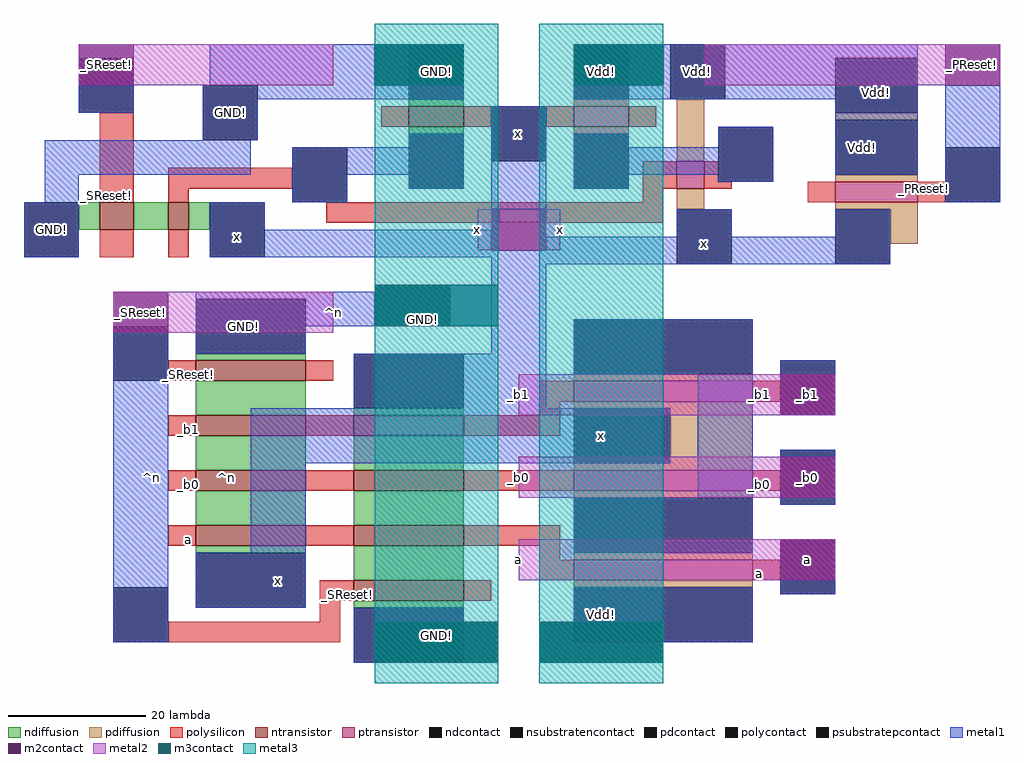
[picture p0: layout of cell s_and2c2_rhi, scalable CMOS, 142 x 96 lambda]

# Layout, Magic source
magic
tech scmos
<< ndiffusion >>
rect -16 588 -8 589
rect -16 584 -8 585
rect -64 570 -61 574
rect -56 570 -51 574
rect -48 570 -45 574
rect -47 551 -31 552
rect -47 543 -31 548
rect -24 543 -8 544
rect -47 535 -31 540
rect -24 535 -8 540
rect -47 527 -31 532
rect -24 527 -8 532
rect -47 523 -31 524
rect -24 519 -8 524
rect -24 515 -8 516
<< pdiffusion >>
rect 8 588 16 589
rect 8 584 16 585
rect 23 580 27 589
rect 46 586 58 587
rect 46 577 58 578
rect 23 573 27 576
rect 46 573 58 574
rect 54 568 58 573
rect 8 548 34 549
rect 8 544 34 545
rect 22 536 34 544
rect 8 535 34 536
rect 8 531 34 532
rect 8 522 34 523
rect 8 518 34 519
<< ntransistor >>
rect -16 585 -8 588
rect -61 570 -56 574
rect -51 570 -48 574
rect -47 548 -31 551
rect -47 540 -31 543
rect -24 540 -8 543
rect -47 532 -31 535
rect -24 532 -8 535
rect -47 524 -31 527
rect -24 524 -8 527
rect -24 516 -8 519
<< ptransistor >>
rect 8 585 16 588
rect 23 576 27 580
rect 46 574 58 577
rect 8 545 34 548
rect 8 532 34 535
rect 8 519 34 522
<< polysilicon >>
rect -61 574 -56 587
rect -20 585 -16 588
rect -8 585 -4 588
rect -51 576 -33 579
rect -51 574 -48 576
rect 4 585 8 588
rect 16 585 20 588
rect 18 576 23 580
rect 27 577 29 580
rect 27 576 31 577
rect 18 574 21 576
rect -61 566 -56 570
rect -51 566 -48 570
rect -28 571 21 574
rect 42 574 46 577
rect 58 574 62 577
rect -51 548 -47 551
rect -31 548 -27 551
rect 3 545 8 548
rect 34 545 38 548
rect 3 543 6 545
rect -51 540 -47 543
rect -31 540 -24 543
rect -8 540 6 543
rect -51 532 -47 535
rect -31 532 -24 535
rect -8 532 8 535
rect 34 532 38 535
rect -51 524 -47 527
rect -31 524 -24 527
rect -8 524 6 527
rect 3 522 6 524
rect 3 519 8 522
rect 34 519 38 522
rect -29 516 -24 519
rect -8 516 -4 519
rect -29 513 -26 516
rect -51 510 -26 513
<< ndcontact >>
rect -16 589 -8 597
rect -16 576 -8 584
rect -72 566 -64 574
rect -45 566 -37 574
rect -47 552 -31 560
rect -24 544 -8 552
rect -47 515 -31 523
rect -24 507 -8 515
<< pdcontact >>
rect 8 589 16 597
rect 22 589 30 597
rect 8 576 16 584
rect 46 578 58 586
rect 23 565 31 573
rect 46 565 54 573
rect 8 549 34 557
rect 8 536 22 544
rect 8 523 34 531
rect 8 510 34 518
<< psubstratepcontact >>
rect -46 583 -38 591
<< nsubstratencontact >>
rect 46 587 58 595
<< polycontact >>
rect -64 587 -56 595
rect -33 574 -25 582
rect -4 580 4 588
rect 29 577 37 585
rect 62 574 70 582
rect -59 548 -51 556
rect 38 543 46 551
rect -59 510 -51 518
rect 38 530 46 538
rect 38 517 46 525
<< metal1 >>
rect -45 591 -21 597
rect -64 587 -56 591
rect -46 589 -8 591
rect 21 591 58 597
rect 8 589 58 591
rect -46 583 -38 589
rect -69 578 -39 583
rect -16 582 -8 584
rect -33 578 -8 582
rect -69 574 -64 578
rect -33 574 -25 578
rect -16 576 -8 578
rect -72 566 -64 574
rect -45 570 -37 574
rect -4 573 4 588
rect 8 582 16 584
rect 29 582 37 585
rect 8 578 37 582
rect 46 578 58 589
rect 8 576 16 578
rect 29 577 37 578
rect 62 574 70 591
rect -45 567 -4 570
rect 23 569 31 573
rect 46 569 54 573
rect 4 567 54 569
rect -45 566 54 567
rect -4 565 54 566
rect -59 510 -51 555
rect -47 556 -21 561
rect -47 552 -31 556
rect -4 552 4 565
rect -24 544 4 552
rect 8 549 34 557
rect -39 536 22 544
rect -39 523 -31 536
rect 26 531 34 549
rect 38 549 46 551
rect 8 523 34 531
rect 38 537 46 538
rect 38 530 46 531
rect -47 515 -31 523
rect -24 513 -8 515
rect 8 513 34 518
rect 38 517 46 519
rect -24 507 -21 513
rect 21 510 34 513
<< m2contact >>
rect -64 591 -56 597
rect -21 591 -8 597
rect 8 591 21 597
rect 62 591 70 597
rect -4 567 4 573
rect -59 555 -51 561
rect -21 556 -10 562
rect 38 543 46 549
rect 38 531 46 537
rect 38 519 46 525
rect -21 507 -3 513
rect 3 507 21 513
<< metal2 >>
rect -64 591 -27 597
rect 27 591 70 597
rect -6 567 6 573
rect -59 555 -27 561
rect 0 543 46 549
rect 0 531 46 537
rect 0 519 46 525
<< m3contact >>
rect -21 591 -8 597
rect 8 591 21 597
rect -21 556 -3 562
rect -21 507 -3 513
rect 3 507 21 513
<< metal3 >>
rect -21 504 -3 600
rect 3 504 21 600
<< labels >>
rlabel metal1 26 593 26 593 5 Vdd!
rlabel metal1 27 568 27 568 5 x
rlabel metal1 -41 569 -41 569 3 x
rlabel metal2 -60 594 -60 594 5 _SReset!
rlabel ndcontact -12 593 -12 593 5 GND!
rlabel pdcontact 12 593 12 593 5 Vdd!
rlabel metal2 -6 567 -6 573 3 x
rlabel metal2 6 567 6 573 7 x
rlabel metal1 0 584 0 584 1 x
rlabel metal1 12 540 12 540 1 x
rlabel metal1 12 514 12 514 1 Vdd!
rlabel polysilicon 35 520 35 520 1 a
rlabel polysilicon 35 533 35 533 7 _b0
rlabel polysilicon 35 546 35 546 7 _b1
rlabel polysilicon -25 517 -25 517 1 _SReset!
rlabel metal1 -35 519 -35 519 1 x
rlabel polysilicon -48 525 -48 525 3 a
rlabel polysilicon -48 549 -48 549 1 _SReset!
rlabel polysilicon -48 533 -48 533 3 _b0
rlabel polysilicon -48 541 -48 541 3 _b1
rlabel m2contact -12 511 -12 511 1 GND!
rlabel metal2 -55 558 -55 558 1 _SReset!
rlabel metal2 0 519 0 525 3 a
rlabel metal2 42 534 42 534 1 _b0
rlabel metal2 0 543 0 549 3 _b1
rlabel metal2 0 531 0 537 3 _b0
rlabel space -60 507 -47 561 7 ^n
rlabel space -61 506 -24 562 7 ^n
rlabel space 22 509 47 558 3 ^p
rlabel metal1 -68 570 -68 570 3 GND!
rlabel polysilicon -60 575 -60 575 3 _SReset!
rlabel m2contact -14 557 -14 557 5 GND!
rlabel metal1 -40 556 -40 556 1 GND!
rlabel metal2 -27 555 -27 561 3 ^n
rlabel metal1 -42 587 -42 587 1 GND!
rlabel metal1 50 582 50 582 6 Vdd!
rlabel polysilicon 59 576 59 576 7 _PReset!
rlabel metal2 66 594 66 594 5 _PReset!
rlabel metal1 52 590 52 590 1 Vdd!
rlabel metal2 42 546 42 546 1 _b1
rlabel metal2 42 522 42 522 1 a
<< end >>
